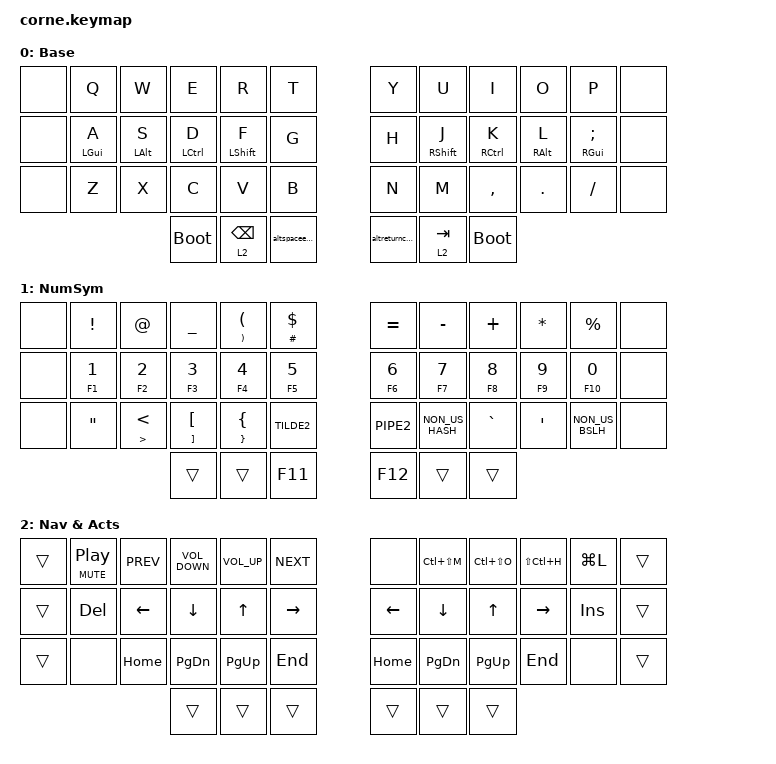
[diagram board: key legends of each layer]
/*
 * Copyright (c) 2020 The ZMK Contributors
 *
 * SPDX-License-Identifier: MIT
 */

#include <behaviors.dtsi>
#include <dt-bindings/zmk/bt.h>
#include <dt-bindings/zmk/keys.h>

#define BT_SSP_DISABLE 1

&mt { flavor = "tap-preferred"; };

/ {
    behaviors {
        hm: homerow_mods {
            compatible = "zmk,behavior-hold-tap";
            label = "HOMEROW_MODS";
            bindings = <&kp>, <&kp>;

            #binding-cells = <2>;
            tapping-term-ms = <200>;
            flavor = "tap-preferred";
            require-prior-idle-ms = <125>;
            quick-tap-ms = <200>;
        };

        shifthr: shifthr {
            compatible = "zmk,behavior-hold-tap";
            label = "SHIFTHR";
            bindings = <&kp>, <&kp>;

            #binding-cells = <2>;
            tapping-term-ms = <185>;
            flavor = "tap-preferred";
            quick-tap-ms = <185>;
        };

        weak: weak {
            compatible = "zmk,behavior-hold-tap";
            label = "WEAK";
            bindings = <&kp>, <&kp>;

            #binding-cells = <2>;
            tapping-term-ms = <230>;
            flavor = "tap-preferred";
            require-prior-idle-ms = <125>;
            quick-tap-ms = <230>;
        };

        backspace: backspace {
            compatible = "zmk,behavior-tap-dance";
            label = "BACKSPACE";
            #binding-cells = <0>;
            bindings = <&kp BACKSPACE>, <&kp LC(BACKSPACE)>;
        };

        altspaceescape: altspaceescape {
            compatible = "zmk,behavior-mod-morph";
            label = "ALTSPACEESCAPE";
            bindings = <&lt 1 SPACE>, <&kp ESCAPE>;

            #binding-cells = <0>;
            mods = <(MOD_LALT)>;
        };

        altreturncaps: altreturncaps {
            compatible = "zmk,behavior-mod-morph";
            label = "ALTRETURNCAPS";
            bindings = <&lt 1 RET>, <&kp CAPS>;

            #binding-cells = <0>;
            mods = <(MOD_RALT)>;
        };

        bluetoothSelORClear: bluetoothSelORClear {
            compatible = "zmk,behavior-hold-tap";
            label = "BLUETOOTHSELORCLEAR";
            bindings = <&bt>, <&bt>;

            #binding-cells = <2>;
            tapping-term-ms = <20>;
        };

        ShiftNumSpace: ShiftNumSpace {
            compatible = "zmk,behavior-mod-morph";
            label = "SHIFTNUMSPACE";
            bindings = <&altspaceescape>, <&mo 2>;

            #binding-cells = <0>;
            mods = <(MOD_LSFT)>;
        };
    };

    combos {
        compatible = "zmk,combos";

        Gaming_Enter {
            bindings = <&kp RET>;
            key-positions = <3 4>;
        };

        Gaming_escape {
            bindings = <&kp ESCAPE>;
            key-positions = <2 1>;
        };

        Gaming-toggle {
            bindings = <&tog 0>;
            key-positions = <26 25>;
        };
    };

    keymap {
        compatible = "zmk,keymap";

        Base {
            // -----------------------------------------------------------------------------------------
            // |  TAB |  Q  |  W  |  E  |  R  |  T  |   |  Y  |  U   |  I  |  O  |  P  | BKSP |
            // | CTRL |  A  |  S  |  D  |  F  |  G  |   |  H  |  J   |  K  |  L  |  ;  |  '   |
            // | SHFT |  Z  |  X  |  C  |  V  |  B  |   |  N  |  M   |  ,  |  .  |  /  | ESC  |
            //                    | GUI | LWR | SPC |   | ENT | RSE  | ALT |

            display-name = "Base";
            bindings = <
&none  &kp Q             &kp W             &kp E                    &kp R                  &kp T              &kp Y           &kp U                   &kp I                     &kp O              &kp P                 &none
&none  &weak LEFT_GUI A  &weak LEFT_ALT S  &shifthr LEFT_CONTROL D  &shifthr LEFT_SHIFT F  &kp G              &kp H           &shifthr RIGHT_SHIFT J  &shifthr RIGHT_CONTROL K  &weak RIGHT_ALT L  &weak RIGHT_GUI SEMI  &none
&none  &kp Z             &kp X             &kp C                    &kp V                  &kp B              &kp N           &kp M                   &kp COMMA                 &kp DOT            &kp SLASH             &none
                                           &bootloader              &lt 2 BACKSPACE        &altspaceescape    &altreturncaps  &lt 2 TAB               &bootloader
            >;
        };

        NumSym {
            display-name = "NumSym";
            bindings = <
&none  &kp EXCL           &kp AT                      &kp UNDERSCORE                  &mt RIGHT_PARENTHESIS LEFT_PARENTHESIS  &mt POUND DOLLAR    &kp EQUAL  &kp MINUS        &kp PLUS   &kp STAR   &kp PERCENT      &none
&none  &mt F1 N1          &mt F2 N2                   &mt F3 N3                       &mt F4 N4                               &mt F5 N5           &mt F6 N6  &mt F7 N7        &mt F8 N8  &mt F9 N9  &mt F10 N0       &none
&none  &kp DOUBLE_QUOTES  &mt GREATER_THAN LESS_THAN  &mt RIGHT_BRACKET LEFT_BRACKET  &mt RIGHT_BRACE LEFT_BRACE              &kp TILDE2          &kp PIPE2  &kp NON_US_HASH  &kp GRAVE  &kp APOS   &kp NON_US_BSLH  &none
                                                      &trans                          &trans                                  &kp F11             &kp F12    &trans           &trans
            >;
        };

        NavAct {
            bindings = <
&trans  &mt C_MUTE C_PLAY_PAUSE  &kp C_PREV  &kp C_VOLUME_DOWN  &kp C_VOLUME_UP  &kp C_NEXT    &none     &kp LC(LS(M))  &kp LC(LS(O))  &kp LS(LC(H))  &kp LG(L)  &trans
&trans  &kp DELETE               &kp LEFT    &kp DOWN           &kp UP_ARROW     &kp RIGHT     &kp LEFT  &kp DOWN       &kp UP_ARROW   &kp RIGHT      &kp INS    &trans
&trans  &none                    &kp HOME    &kp PAGE_DOWN      &kp PAGE_UP      &kp END       &kp HOME  &kp PAGE_DOWN  &kp PAGE_UP    &kp END        &none      &trans
                                             &trans             &trans           &trans        &trans    &trans         &trans
            >;

            label = "Nav & Acts";
        };
    };
};
